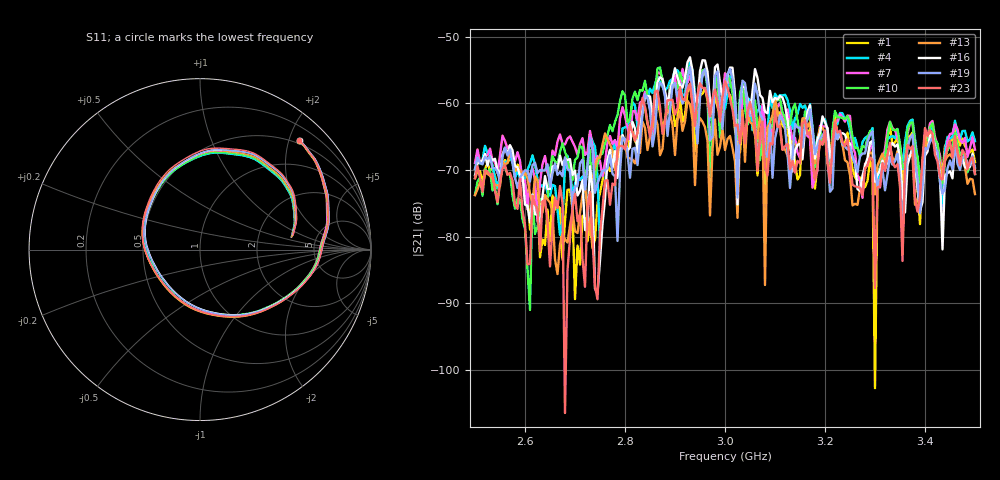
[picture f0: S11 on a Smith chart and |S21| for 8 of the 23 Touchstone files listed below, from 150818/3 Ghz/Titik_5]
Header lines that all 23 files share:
# Hz S RI R 50
! CMT, C1220, 16058040, 17.2.0/1
! Data: Format (Calibration Info)
! Freq  S11: Re/Im (F2)  S21: Re/Im (F2)  S12: Re/Im (F2)  S22: Re/Im (F2)
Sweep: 2.5 GHz to 3.5 GHz
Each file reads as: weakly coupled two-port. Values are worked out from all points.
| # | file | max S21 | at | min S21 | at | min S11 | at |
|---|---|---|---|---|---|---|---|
| 1 | Sudut_20_Titik_5.s2p | -57.16 dB | 2.93 GHz | -102.8 dB | 3.3 GHz | -10.7 dB | 2.985 GHz |
| 2 | Sudut_40_Titik_5.s2p | -55.22 dB | 2.93 GHz | -92.3 dB | 2.63 GHz | -10.6 dB | 2.985 GHz |
| 3 | Sudut_50_Titik_5.s2p | -53.78 dB | 2.96 GHz | -87.1 dB | 2.61 GHz | -10.7 dB | 2.985 GHz |
| 4 | Sudut_60_Titik_5.s2p | -53.88 dB | 2.93 GHz | -81.0 dB | 2.75 GHz | -10.8 dB | 2.985 GHz |
| 5 | Sudut_70_Titik_5.s2p | -52.49 dB | 2.93 GHz | -80.8 dB | 2.755 GHz | -11.0 dB | 2.985 GHz |
| 6 | Sudut_80_Titik_5.s2p | -52.05 dB | 2.93 GHz | -74.7 dB | 3.355 GHz | -11.1 dB | 2.985 GHz |
| 7 | Sudut_110_Titik_5.s2p | -54.80 dB | 2.915 GHz | -77.8 dB | 2.625 GHz | -10.8 dB | 2.985 GHz |
| 8 | Sudut_120_Titik_5.s2p | -54.23 dB | 2.915 GHz | -80.0 dB | 2.6 GHz | -10.7 dB | 2.985 GHz |
| 9 | Sudut_130_Titik_5.s2p | -53.62 dB | 2.865 GHz | -79.9 dB | 2.545 GHz | -10.9 dB | 2.985 GHz |
| 10 | Sudut_140_Titik_5.s2p | -54.37 dB | 2.93 GHz | -91.0 dB | 2.61 GHz | -11.1 dB | 2.985 GHz |
| 11 | Sudut_150_Titik_5.s2p | -54.90 dB | 2.96 GHz | -91.2 dB | 2.605 GHz | -11.1 dB | 2.985 GHz |
| 12 | Sudut_180_Titik_5.s2p | -57.54 dB | 3.1 GHz | -86.5 dB | 2.705 GHz | -10.7 dB | 2.985 GHz |
| 13 | Sudut_200_Titik_5.s2p | -59.33 dB | 3.1 GHz | -87.3 dB | 3.08 GHz | -10.6 dB | 2.985 GHz |
| 14 | Sudut_220_Titik_5.s2p | -54.98 dB | 2.93 GHz | -86.4 dB | 2.665 GHz | -10.7 dB | 2.985 GHz |
| 15 | Sudut_240_Titik_5.s2p | -53.62 dB | 2.93 GHz | -95.9 dB | 2.715 GHz | -11.1 dB | 2.985 GHz |
| 16 | Sudut_250_Titik_5.s2p | -53.06 dB | 2.93 GHz | -88.5 dB | 2.745 GHz | -11.2 dB | 2.985 GHz |
| 17 | Sudut_260_Titik_5.s2p | -53.16 dB | 2.93 GHz | -85.5 dB | 3.435 GHz | -11.2 dB | 2.985 GHz |
| 18 | Sudut_270_Titik_5.s2p | -53.60 dB | 2.93 GHz | -79.8 dB | 3.39 GHz | -11.2 dB | 2.985 GHz |
| 19 | Sudut_280_Titik_5.s2p | -54.52 dB | 2.93 GHz | -80.7 dB | 2.785 GHz | -11.2 dB | 2.985 GHz |
| 20 | Sudut_300_Titik_5.s2p | -56.90 dB | 3.01 GHz | -93.2 dB | 3.435 GHz | -10.9 dB | 2.985 GHz |
| 21 | Sudut_320_Titik_5.s2p | -56.80 dB | 2.87 GHz | -89.2 dB | 2.625 GHz | -10.7 dB | 2.985 GHz |
| 22 | Sudut_330_Titik_5.s2p | -55.91 dB | 2.91 GHz | -88.3 dB | 2.695 GHz | -10.7 dB | 2.985 GHz |
| 23 | Sudut_360_Titik_5.s2p | -56.65 dB | 3 GHz | -106.5 dB | 2.68 GHz | -10.7 dB | 2.985 GHz |
